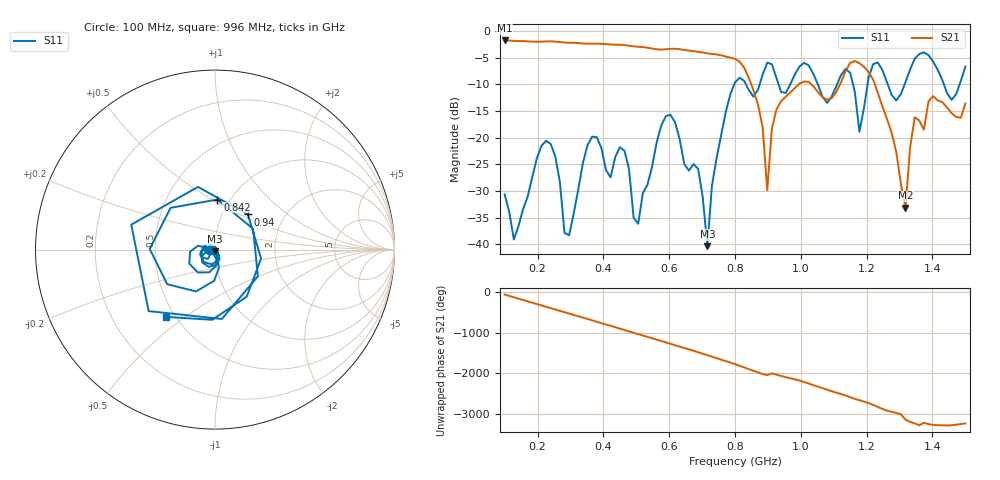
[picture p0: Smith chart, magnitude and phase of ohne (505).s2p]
! NanoVNA-App
! Date: 2025-09-25 14:24:44
! Start: 100MHz Stop: 1,5GHz Points: 101
! S-Parameter data: F S11 S21 S12 S22
# Hz S RI R 50
!  Frequency  S11_Real  S11_Imag  S21_Real  S21_Imag  S12_Real  S12_Imag  S22_Real  S22_Imag
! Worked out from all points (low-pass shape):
!   101 points, 100 MHz to 1.5 GHz, reference 50 ohm
!   highest |S21| = -1.79 dB at 100 MHz (marker M1); lowest = -33.2 dB at 1.318 GHz (marker M2)
!   |S21| within 3 dB of the highest: start of sweep to 771.1 MHz
!   lowest |S11| = -40.4 dB at 716 MHz (marker M3), VSWR 1.02, Z = 49.7 - j0.915 ohm
!   |S11| at or under -10 dB: start of sweep to 797.8 MHz; 833.1 MHz to 875.1 MHz (41.95 MHz wide, 4.91 % of centre); 1.052 GHz to 1.11 GHz (58.65 MHz wide, 5.43 % of centre) (the widest 3 of 7)
!   S12 and S22 are empty: the file has one direction only
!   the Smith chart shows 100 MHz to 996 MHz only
!   S11 on the Smith chart (normalised r, x): 100 MHz: 0.94, -0.01; 842 MHz: 0.88, +0.53; 940 MHz: 1.31, +0.55; 996 MHz: 0.44, -0.42
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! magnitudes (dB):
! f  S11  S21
! 100 MHz  -30.6  -1.8
! 128 MHz  -39.1  -1.9
! 226 MHz  -20.6  -2.0
! 296 MHz  -38.3  -2.2
! 338 MHz  -24.7  -2.4
! 464 MHz  -22.4  -2.7
! 506 MHz  -36.1  -3.0
! 576 MHz  -17.7  -3.5
! 688 MHz  -25.9  -3.9
! 716 MHz  -40.4  -4.2
! 800 MHz  -9.7  -5.2
! 842 MHz  -11.1  -8.8
! 898 MHz  -6.0  -29.9
! 940 MHz  -11.4  -13.2
! 996 MHz  -6.7  -9.9
! 1.038 GHz  -8.1  -10.4
! 1.178 GHz  -18.9  -6.1
! 1.22 GHz  -6.2  -9.2
! 1.276 GHz  -12.0  -19.1
! 1.318 GHz  -9.6  -33.2
! 1.346 GHz  -5.2  -16.2
! 1.5 GHz  -6.7  -13.6
